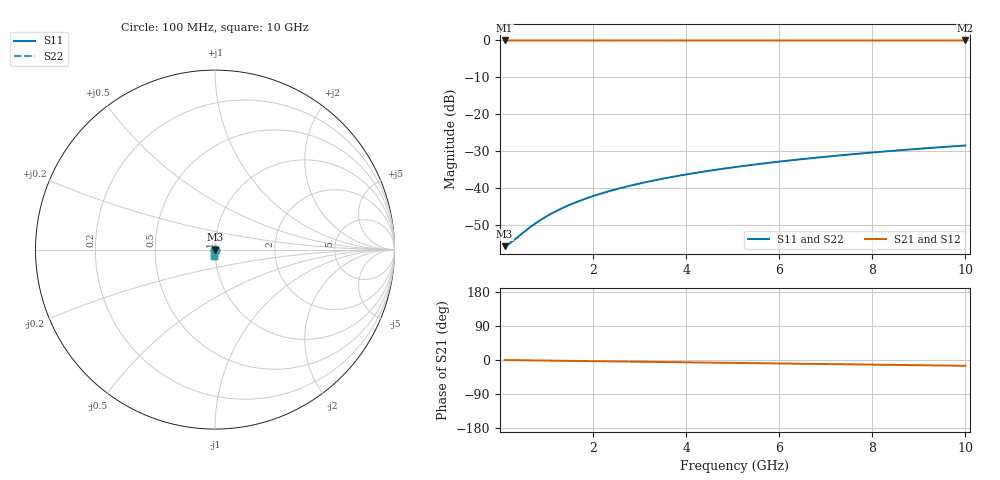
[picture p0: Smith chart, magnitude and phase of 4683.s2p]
# Hz S RI R 50.00
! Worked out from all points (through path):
!   100 points, 100 MHz to 10 GHz, reference 50 ohm
!   highest |S21| = -0.01 dB at 100 MHz (marker M1); lowest = 0.0 dB at 10 GHz (marker M2)
!   group delay of S21, straight-line fit = 4.24 ps
!   lowest |S11| = -55.8 dB at 100 MHz (marker M3), VSWR 1.00, Z = 50.2 - j0.0384 ohm
!   |S11| at or under -10 dB: start of sweep to end of sweep
!   |S22| runs from -55.8 to -28.5 dB; largest |S21 - S12| = 0
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1e8  0.00158 -0.000383  0.9984 -0.00265  0.9984 -0.00265  0.00158 -0.000383
2e8  0.00159 -0.000766  0.9984 -0.00531  0.9984 -0.00531  0.00159 -0.000766
3e8  0.00159 -0.00115  0.9984 -0.00796  0.9984 -0.00796  0.00159 -0.00115
5e8  0.00158 -0.00192  0.9983 -0.0133  0.9983 -0.0133  0.00158 -0.00192
7e8  0.00156 -0.00268  0.9982 -0.0186  0.9982 -0.0186  0.00156 -0.00268
8e8  0.00155 -0.00306  0.9981 -0.0212  0.9981 -0.0212  0.00155 -0.00306
1e9  0.00152 -0.00383  0.998 -0.0265  0.998 -0.0265  0.00152 -0.00383
1.2e9  0.00148 -0.0046  0.9978 -0.0319  0.9978 -0.0319  0.00148 -0.0046
1.4e9  0.00143 -0.00536  0.9976 -0.0372  0.9976 -0.0372  0.00143 -0.00536
1.6e9  0.00137 -0.00613  0.9974 -0.0425  0.9974 -0.0425  0.00137 -0.00613
1.8e9  0.0013 -0.00689  0.9971 -0.0478  0.9971 -0.0478  0.0013 -0.00689
2.1e9  0.00119 -0.00803  0.9967 -0.0557  0.9967 -0.0557  0.00119 -0.00803
2.5e9  0.001 -0.00956  0.996 -0.0663  0.996 -0.0663  0.001 -0.00956
2.9e9  0.000788 -0.0111  0.9952 -0.0769  0.9952 -0.0769  0.000788 -0.0111
3.4e9  0.000473 -0.013  0.9941 -0.0901  0.9941 -0.0901  0.000473 -0.013
4.2e9  -0.000137 -0.016  0.9919 -0.1113  0.9919 -0.1113  -0.000137 -0.016
5.1e9  -0.000975 -0.0193  0.9888 -0.135  0.9888 -0.135  -0.000975 -0.0193
5.9e9  -0.00186 -0.0223  0.9856 -0.156  0.9856 -0.156  -0.00186 -0.0223
6.7e9  -0.00286 -0.0252  0.982 -0.177  0.982 -0.177  -0.00286 -0.0252
7.5e9  -0.00399 -0.0281  0.9779 -0.1978  0.9779 -0.1978  -0.00399 -0.0281
8.4e9  -0.0054 -0.0312  0.9727 -0.2212  0.9727 -0.2212  -0.0054 -0.0312
1e10  -0.00829 -0.0367  0.9622 -0.2624  0.9622 -0.2624  -0.00829 -0.0367
